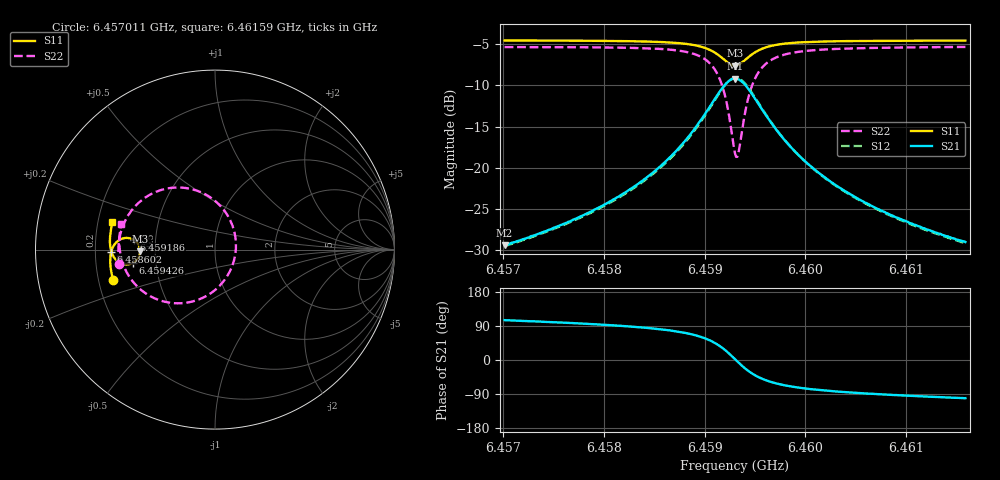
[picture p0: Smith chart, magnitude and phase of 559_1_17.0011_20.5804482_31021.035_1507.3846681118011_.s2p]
#  HZ  S  RI  R  50.00
! Rohde & Schwarz Vector Network Analyzer
! Rohde-Schwarz,ZNB20-2Port,1311601062101988,3.16
! Created: UTC 3/20/2024, 11:17:07 PM
! freq[Hz]  re:S11  im:S11  re:S21  im:S21  re:S12  im:S12  re:S22  im:S22
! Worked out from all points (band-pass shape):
!   401 points, 6.457011 GHz to 6.46159 GHz, reference 50 ohm
!   highest |S21| = -9.18 dB at 6.4593 GHz (marker M1); lowest = -29.4 dB at 6.457011 GHz (marker M2)
!   |S21| within 3 dB of the highest: 6.459072 GHz to 6.45953 GHz (458 kHz wide, 0.00709 % of centre)
!   lowest |S11| = -7.6 dB at 6.4593 GHz (marker M3), VSWR 2.43, Z = 20.6 - j0.441 ohm
!   |S11| at or under -10 dB: nowhere
!   |S22| runs from -18.7 to -5.3 dB; largest |S21 - S12| = 0.014
!   S11 on the Smith chart (normalised r, x): 6.457011 GHz: 0.26, -0.14; 6.458602 GHz: 0.27, -0.01; 6.459186 GHz: 0.37, +0.05; 6.459426 GHz: 0.37, -0.07; 6.46159 GHz: 0.26, +0.12
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6.4570111e9  -0.5675 -0.1696  -0.00882 0.0326  -0.00704 0.0326  -0.5336 -0.0818
6.457778e9  -0.5812 -0.1024  -0.00547 0.0507  -0.00272 0.0501  -0.5385 0.00831
6.458213e9  -0.5839 -0.0585  0.00094 0.071  0.00423 0.0695  -0.5294 0.0781
6.4585449e9  -0.5798 -0.0187  0.0148 0.0992  0.0187 0.0965  -0.5038 0.1538
6.4586022e9  -0.5779 -0.0108  0.0191 0.1062  0.0231 0.103  -0.4956 0.1703
6.4588082e9  -0.5649 0.0212  0.0468 0.1387  0.0509 0.1336  -0.4434 0.2432
6.458957e9  -0.542 0.0475  0.0923 0.1691  0.0956 0.1623  -0.3592 0.3076
6.4590944e9  -0.498 0.065  0.18 0.1854  0.1809 0.1781  -0.1988 0.346
6.459186e9  -0.4533 0.0546  0.2704 0.1538  0.2705 0.1482  -0.0314 0.2949
6.4592546e9  -0.424 0.0223  0.3311 0.0816  0.3333 0.0763  0.0846 0.1641
6.4593004e9  -0.4172 -0.00885  0.3473 0.0132  0.3512 0.00629  0.1167 0.0361
6.4593119e9  -0.4176 -0.0169  0.3472 -0.00461  0.3512 -0.0123  0.1163 0.00233
6.4593348e9  -0.4212 -0.0326  0.3416 -0.0396  0.3455 -0.0488  0.105 -0.0642
6.4593805e9  -0.4368 -0.0588  0.3126 -0.0998  0.3149 -0.1118  0.0463 -0.1782
6.4594263e9  -0.4591 -0.0752  0.2702 -0.141  0.2694 -0.1544  -0.0395 -0.2534
6.4595179e9  -0.5026 -0.0821  0.1846 -0.1721  0.1785 -0.1837  -0.2101 -0.2992
6.4596667e9  -0.5466 -0.0615  0.0962 -0.158  0.0877 -0.1641  -0.379 -0.2488
6.459827e9  -0.5683 -0.0337  0.0513 -0.1295  0.0436 -0.1324  -0.4594 -0.1758
6.4600673e9  -0.581 0.00187  0.0221 -0.0979  0.0161 -0.0984  -0.5075 -0.0928
6.4604107e9  -0.5855 0.0427  0.00602 -0.0708  0.00194 -0.0703  -0.5289 -0.0133
6.4608343e9  -0.5836 0.0853  -0.00164 -0.052  -0.00442 -0.0513  -0.5329 0.0551
6.4615897e9  -0.5713 0.1523  -0.00655 -0.0347  -0.00832 -0.0338  -0.5212 0.1447
